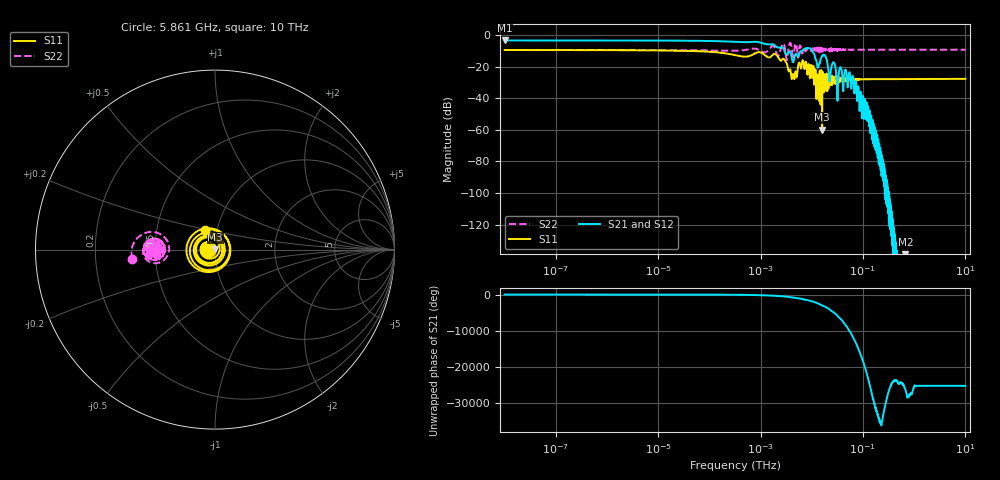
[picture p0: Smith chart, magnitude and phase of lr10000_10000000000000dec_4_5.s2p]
! NPort=2 DATA=4501 NOISE=0 GROUPDELAY=0 COMPLEX_DATAFORMAT=RI
! NumOfBlock=1 NumOfParam=0
! .MODEL Smodel S TSTONEFILE=./link_rx/link_rx_l3/lr10000_10000000000000dec_4_5.s2p TYPE=S
!  -- The above .MODEL line can be used for the S element in the netlist.
# Hz S RI R  50
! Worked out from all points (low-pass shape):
!   4501 points, 10 kHz to 10 THz, reference 50 ohm
!   highest |S21| = -3.52 dB at 10.05 kHz (marker M1); lowest = -197.2 dB at 676.1 GHz (marker M2)
!   |S21| within 3 dB of the highest: start of sweep to 1.88 GHz
!   lowest |S11| = -59.8 dB at 15.92 GHz (marker M3), VSWR 1.00, Z = 50.1 + j0.0641 ohm
!   |S11| at or under -10 dB: 23.41 MHz to end of sweep
!   |S22| runs from -16.5 to -5.0 dB; largest |S21 - S12| = 0
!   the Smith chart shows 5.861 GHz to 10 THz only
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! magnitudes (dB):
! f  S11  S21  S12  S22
! 10 kHz  -9.6  -3.5  -3.5  -9.5
! 10.05 kHz  -9.6  -3.5  -3.5  -9.5
! 316.2 kHz  -9.6  -3.5  -3.5  -9.6
! 10 MHz  -9.8  -3.6  -3.6  -9.6
! 316.2 MHz  -12.8  -4.4  -4.4  -10.0
! 1.932 GHz  -12.1  -6.9  -6.9  -9.1
! 4.325 GHz  -24.7  -17.4  -17.4  -16.5
! 6.166 GHz  -21.2  -10.3  -10.3  -8.7
! 10 GHz  -23.3  -9.6  -9.6  -9.5
! 13.06 GHz  -25.0  -20.9  -20.9  -11.1
! 15.92 GHz  -59.8  -13.2  -13.2  -8.5
! 18.37 GHz  -25.2  -13.5  -13.5  -10.0
! 22.08 GHz  -28.1  -29.4  -29.4  -10.1
! 26.67 GHz  -28.6  -17.4  -17.4  -9.3
! 31.48 GHz  -28.0  -39.0  -39.0  -9.3
! 36.31 GHz  -27.7  -20.4  -20.4  -9.4
! 67.3 GHz  -28.2  -36.0  -36.0  -9.4
! 125.9 GHz  -28.0  -45.1  -45.1  -9.4
! 233.3 GHz  -28.0  -77.1  -77.1  -9.4
! 316.2 GHz  -27.9  -98.8  -98.8  -9.4
! 676.1 GHz  -27.9  -197.2  -197.2  -9.4
! 10 THz  -27.8  -  -  -9.4
